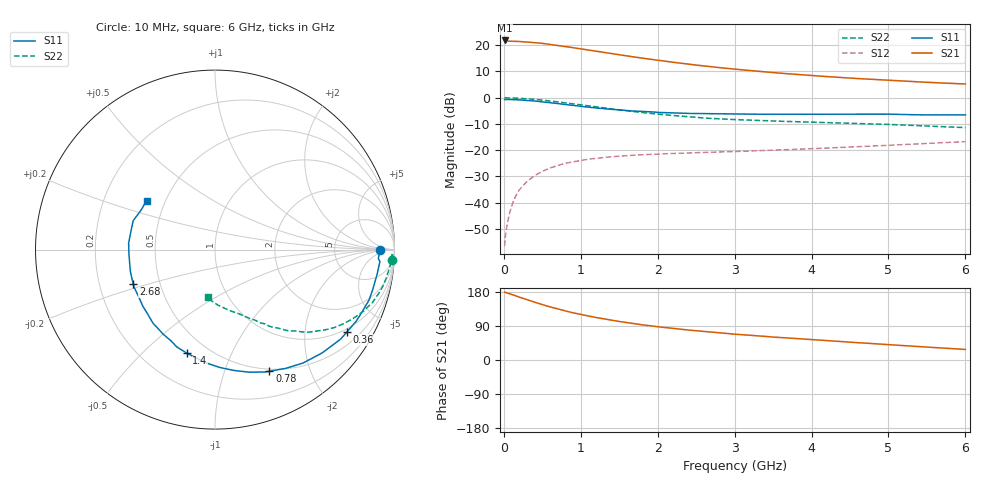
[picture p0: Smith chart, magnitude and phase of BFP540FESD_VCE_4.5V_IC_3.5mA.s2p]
! Infineon Technologies  Discrete & RF Semiconductors
! BFP540FESD
! VCE =  4.5 V,  IC =  3.5 mA
! Common Emitter S-Parameters:  Nov 2015
# GHz  S  MA  R  50
!  f  S11  S21  S12  S22
! GHz  MAG  ANG  MAG  ANG  MAG  ANG  MAG  ANG
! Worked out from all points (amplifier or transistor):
!   210 points, 10 MHz to 6 GHz, reference 50 ohm
!   highest |S21| = 21.7 dB at 10 MHz (marker M1)
!   |S21| within 3 dB of that: start of sweep to 955.3 MHz
!   unconditionally stable (mu >= 1): 3.024 GHz to end of sweep
!   at 185 MHz: K = 0.14, MSG = 28.6 dB, |S12| = -35.8 dB
!   at 1.52 GHz: K = 0.51, MSG = 19.2 dB, |S12| = -22.3 dB
!   at 6 GHz: K = 1.39, MAG = 7.2 dB, |S12| = -16.8 dB
!   S11 on the Smith chart (normalised r, x): 10 MHz: 24, +0; 360 MHz: 0.89, -3.26; 780 MHz: 0.47, -1.43; 1.4 GHz: 0.38, -0.69; 2.68 GHz: 0.35, -0.18; 6 GHz: 0.39, +0.28
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0.01  0.9192 0.0  12.14 178.7  0.0015 27.8  0.9851 -3.3
0.02  0.9115 -3.2  11.81 178.4  0.0023 48.7  0.9922 -1.1
0.07  0.9176 -6.0  11.76 175.2  0.006 74.2  0.9813 -3.4
0.13  0.9084 -11.9  11.73 171.1  0.0113 78.4  0.9766 -6.2
0.2  0.9033 -18.0  11.6 165.9  0.0175 75.1  0.9665 -9.6
0.36  0.866 -32.0  11.16 155.3  0.0297 70.9  0.9341 -16.8
0.5  0.8295 -43.9  10.7 146.2  0.0396 66.1  0.8933 -22.8
0.54  0.8157 -47.1  10.49 143.8  0.0421 64.1  0.8797 -24.2
0.6  0.8 -52.2  10.21 140.1  0.0459 61.5  0.8603 -26.5
0.78  0.7426 -65.9  9.408 130.6  0.0553 55.8  0.7986 -32.7
0.9  0.7087 -74.5  8.849 124.5  0.0603 52.5  0.7577 -36.2
1.02  0.6762 -82.3  8.315 119.5  0.0647 49.7  0.7188 -39.3
1.2  0.6337 -94.3  7.546 112.0  0.0697 45.4  0.663 -43.7
1.4  0.5977 -105.3  6.825 105.1  0.0749 41.9  0.6081 -48.0
1.72  0.5506 -122.2  5.831 95.1  0.0808 38.2  0.5341 -53.8
2.02  0.5204 -135.5  5.081 87.3  0.0843 35.7  0.4808 -58.1
2.4  0.499 -149.2  4.297 79.0  0.0885 33.7  0.4336 -62.8
2.68  0.4939 -157.1  3.869 74.0  0.0914 33.2  0.4025 -66.5
3.1  0.4841 -167.7  3.357 66.8  0.0953 32.5  0.3763 -70.5
4.1  0.4812 174.2  2.557 52.5  0.1082 32.7  0.3365 -79.3
5.1  0.4792 158.9  2.092 39.2  0.1258 31.4  0.3041 -88.5
6  0.4686 144.3  1.808 27.9  0.145 29.3  0.2685 -98.1
